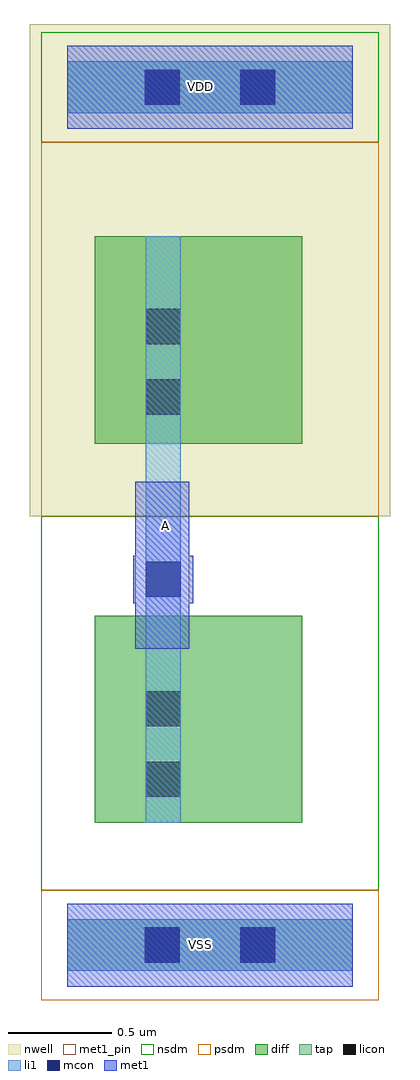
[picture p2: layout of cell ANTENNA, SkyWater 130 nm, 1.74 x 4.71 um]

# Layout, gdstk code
from math import pi, radians
import gdstk
lib = gdstk.Library(unit=1e-6, precision=1e-09)
def R(c, l, rs):  # rectangles x0, y0, x1, y1
    for r in rs: c.add(gdstk.rectangle(r[:2], r[2:], *l))
nwell = (64, 20)
diff = (65, 20)
tap = (65, 44)
licon = (66, 44)
li1 = (67, 20)
mcon = (67, 44)
met1_pin = (68, 16)
met1 = (68, 20)
nsdm = (93, 44)
psdm = (94, 20)

l1m1_c_cdns_749673193252 = lib.new_cell('L1M1_C_CDNS_749673193252')
R(l1m1_c_cdns_749673193252, li1, [(-0.165,-0.085,0.165,0.085)])
R(l1m1_c_cdns_749673193252, mcon, [(-0.085,-0.085,0.085,0.085)])
R(l1m1_c_cdns_749673193252, met1, [(-0.115,-0.145,0.115,0.145)])

antenna = lib.new_cell('ANTENNA')
R(antenna, nwell, [(-0.18,2.07,1.56,4.305), (-0.18,3.875,1.56,4.445)])
R(antenna, diff, [(0.135,0.59,1.135,1.59), (0.135,2.42,1.135,3.42)])
R(antenna, licon, [(0.375,-0.085,0.545,0.085), (0.835,-0.085,1.005,0.085), (0.38,0.715,0.55,0.885), (0.38,1.055,0.55,1.225), (0.38,2.56,0.55,2.73), (0.38,2.9,0.55,3.07), (0.375,4.055,0.545,4.225), (0.835,4.055,1.005,4.225)])
R(antenna, li1, [(0.38,0.59,0.55,1.6), (0.38,2.42,0.55,3.42)])
R(antenna, mcon, [(0.375,-0.085,0.545,0.085), (0.835,-0.085,1.005,0.085), (0.375,4.055,0.545,4.225), (0.835,4.055,1.005,4.225)])
R(antenna, met1_pin, [(0.33,1.43,0.59,2.235)])
R(antenna, nsdm, [(-0.125,0.265,1.505,2.07), (-0.125,3.875,1.505,4.405), (-0.125,3.93,1.505,4.35)])
R(antenna, psdm, [(-0.125,-0.265,1.505,0.265), (-0.125,-0.21,1.505,0.21), (-0.125,2.07,1.505,3.875)])
antenna.add(gdstk.FlexPath([(0,4.14),(1.38,4.14)], 0.4, ends="flush", simple_path=True, layer=68, datatype=20))  # met1
antenna.add(gdstk.FlexPath([(0.46,1.43),(0.46,2.235)], 0.26, ends="flush", simple_path=True, layer=68, datatype=20))  # met1
antenna.add(gdstk.FlexPath([(0,0),(1.38,0)], 0.4, ends="flush", simple_path=True, layer=68, datatype=20))  # met1
antenna.add(gdstk.FlexPath([(0,4.14),(1.38,4.14)], 0.25, ends="flush", simple_path=True, layer=65, datatype=44))  # tap
antenna.add(gdstk.FlexPath([(0,0),(1.38,0)], 0.25, ends="flush", simple_path=True, layer=65, datatype=44))  # tap
antenna.add(gdstk.FlexPath([(0.465,2.56),(0.465,1.765)], 0.17, ends="flush", simple_path=True, layer=67, datatype=20))  # li1
antenna.add(gdstk.FlexPath([(0,0),(1.38,0)], 0.25, ends="flush", simple_path=True, layer=67, datatype=20))  # li1
antenna.add(gdstk.FlexPath([(0,4.14),(1.38,4.14)], 0.25, ends="flush", simple_path=True, layer=67, datatype=20))  # li1
antenna.add(gdstk.FlexPath([(0,4.14),(1.38,4.14)], 0.4, ends="flush", simple_path=True, layer=68, datatype=16))  # met1_pin
antenna.add(gdstk.FlexPath([(0,0),(1.38,0)], 0.4, ends="flush", simple_path=True, layer=68, datatype=16))  # met1_pin
antenna.add(gdstk.Reference(l1m1_c_cdns_749673193252, (0.465,1.765), rotation=pi/2, x_reflection=True))
antenna.add(gdstk.Label('VDD', (0.645,4.145), layer=68, texttype=5))
antenna.add(gdstk.Label('VSS', (0.645,0.005), layer=68, texttype=5))
antenna.add(gdstk.Label('A', (0.475,2.025), layer=68, texttype=5))

lib.write_gds('ANTENNA.gds')
